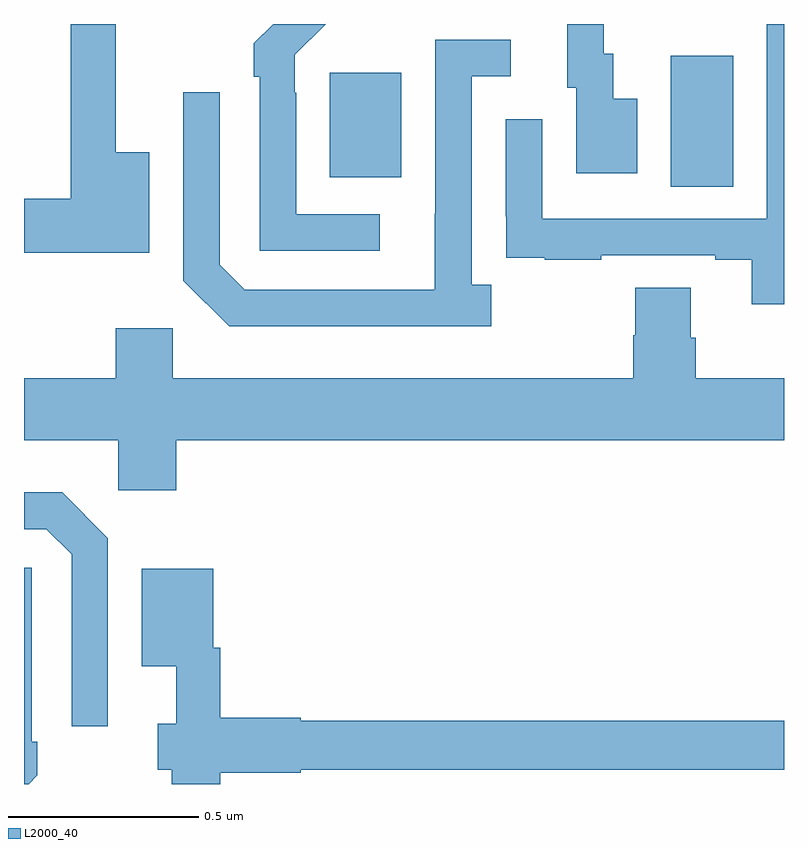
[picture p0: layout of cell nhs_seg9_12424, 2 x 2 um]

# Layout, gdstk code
import gdstk
lib = gdstk.Library(unit=1e-6, precision=1e-09)
def R(c, l, rs):  # rectangles x0, y0, x1, y1
    for r in rs: c.add(gdstk.rectangle(r[:2], r[2:], *l))
def P(c, l, *ps):  # polygons
    for p in ps: c.add(gdstk.Polygon(p, *l))
L2000_40 = (2000, 40)

nhs_seg9_12424 = lib.new_cell('nhs_seg9_12424')
R(nhs_seg9_12424, L2000_40, [(269.702,1213.072,269.866,1213.416), (268.805,1213.097,268.993,1213.372)])
P(nhs_seg9_12424, L2000_40, [(268.936,1212.999),(268.716,1212.999),(268.716,1213.319),(268.713,1213.319),(268.713,1213.419),(268.794,1213.5),(268.656,1213.5),(268.605,1213.449),(268.605,1213.361),(268.62,1213.361),(268.62,1212.903),(268.936,1212.903)],
  [(269.614,1213.303),(269.551,1213.303),(269.551,1213.422),(269.526,1213.422),(269.526,1213.5),(269.429,1213.5),(269.429,1213.332),(269.453,1213.332),(269.453,1213.107),(269.614,1213.107)],
  [(268.33,1213.162),(268.241,1213.162),(268.241,1213.5),(268.123,1213.5),(268.123,1213.04),(268,1213.04),(268,1212.898),(268.33,1212.898)],
  [(270,1213.5),(269.955,1213.5),(269.955,1212.987),(269.364,1212.987),(269.364,1213.249),(269.268,1213.249),(269.268,1212.994),(269.269,1212.994),(269.269,1212.885),(269.371,1212.885),(269.371,1212.879),(269.519,1212.879),(269.519,1212.891),(269.819,1212.891),(269.819,1212.879),(269.915,1212.879),(269.915,1212.762),(270,1212.762)],
  [(269.23,1212.814),(269.178,1212.814),(269.178,1213.362),(269.281,1213.362),(269.281,1213.458),(269.082,1213.458),(269.082,1213.001),(269.081,1213.001),(269.081,1212.801),(268.581,1212.801),(268.515,1212.867),(268.515,1213.321),(268.419,1213.321),(268.419,1212.825),(268.54,1212.704),(269.23,1212.704)],
  [(268.4,1212.404),(270,1212.404),(270,1212.568),(269.768,1212.568),(269.768,1212.674),(269.755,1212.674),(269.755,1212.806),(269.608,1212.806),(269.608,1212.681),(269.603,1212.681),(269.603,1212.568),(268.392,1212.568),(268.392,1212.7),(268.241,1212.7),(268.241,1212.568),(268,1212.568),(268,1212.404),(268.248,1212.404),(268.248,1212.273),(268.4,1212.273)],
  [(268.221,1212.147),(268.1,1212.268),(268,1212.268),(268,1212.171),(268.059,1212.171),(268.125,1212.105),(268.125,1211.652),(268.221,1211.652)],
  [(268.035,1211.523),(268.035,1211.611),(268.02,1211.611),(268.02,1212.069),(268,1212.069),(268,1211.5),(268.012,1211.5)],
  [(268.517,1211.53),(268.728,1211.53),(268.728,1211.538),(270,1211.538),(270,1211.666),(268.728,1211.666),(268.728,1211.674),(268.517,1211.674),(268.517,1211.859),(268.498,1211.859),(268.498,1212.067),(268.31,1212.067),(268.31,1211.81),(268.4,1211.81),(268.4,1211.659),(268.352,1211.659),(268.352,1211.537),(268.389,1211.537),(268.389,1211.5),(268.517,1211.5)])

lib.write_gds('nhs_seg9_12424.gds')
